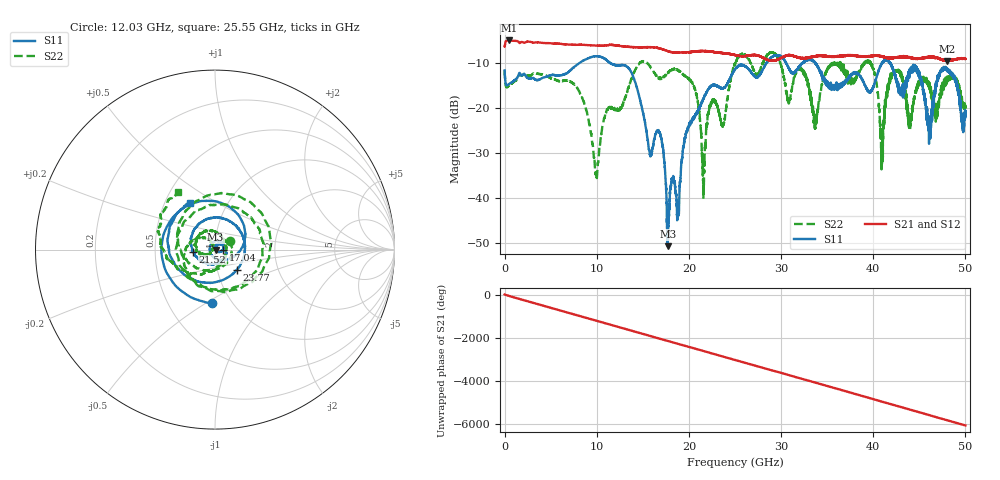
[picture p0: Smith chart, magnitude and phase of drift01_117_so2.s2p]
!Created with skrf (http://scikit-rf.org).
# Hz S RI R 50.0
!freq ReS11 ImS11 ReS21 ImS21 ReS12 ImS12 ReS22 ImS22
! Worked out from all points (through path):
!   10001 points, 300 kHz to 50 GHz, reference 50 ohm
!   highest |S21| = -5.05 dB at 520.3 MHz (marker M1); lowest = -9.6 dB at 48.03 GHz (marker M2)
!   group delay of S21, straight-line fit = 336 ps
!   lowest |S11| = -50.6 dB at 17.7 GHz (marker M3), VSWR 1.01, Z = 50.3 - j0.0728 ohm
!   |S11| at or under -10 dB: start of sweep to 8.162 GHz; 11.43 GHz to 28.42 GHz (16.99 GHz wide, 85.2 % of centre); 41.82 GHz to end of sweep (the widest 3 of 11)
!   |S22| runs from -40.1 to -7.6 dB; largest |S21 - S12| = 0.017
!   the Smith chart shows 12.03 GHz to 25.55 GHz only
!   S11 on the Smith chart (normalised r, x): 12.03 GHz: 0.81, -0.53; 17.04 GHz: 1.09, -0.01; 21.52 GHz: 0.78, -0.02; 23.77 GHz: 1.24, -0.29; 25.55 GHz: 0.67, +0.38
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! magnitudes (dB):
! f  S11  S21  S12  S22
! 300 kHz  -11.7  -6.4  -6.5  -11.7
! 520.3 MHz  -14.7  -5.1  -5.1  -15.0
! 8.335 GHz  -9.8  -6.0  -6.0  -17.5
! 9.935 GHz  -8.5  -6.2  -6.2  -34.2
! 12.03 GHz  -10.5  -6.1  -6.1  -20.4
! 16.67 GHz  -24.9  -6.7  -6.7  -13.3
! 17.04 GHz  -27.1  -6.9  -6.9  -13.5
! 17.7 GHz  -50.6  -7.4  -7.4  -12.2
! 20.5 GHz  -22.2  -7.6  -7.5  -14.9
! 21.52 GHz  -18.1  -7.4  -7.4  -34.8
! 22.45 GHz  -15.1  -7.6  -7.5  -18.8
! 23.77 GHz  -15.6  -7.9  -7.9  -23.5
! 25 GHz  -11.4  -8.3  -8.3  -10.2
! 25.55 GHz  -10.5  -8.5  -8.5  -8.3
! 33.34 GHz  -9.4  -8.7  -8.7  -19.4
! 39.49 GHz  -16.4  -8.5  -8.6  -9.8
! 40.95 GHz  -10.1  -8.6  -8.5  -29.7
! 41.67 GHz  -9.6  -8.8  -8.9  -14.8
! 44.76 GHz  -11.7  -9.1  -9.0  -15.6
! 46.12 GHz  -23.0  -8.7  -8.7  -14.4
! 48.03 GHz  -11.7  -9.6  -9.5  -13.6
! 50 GHz  -21.6  -9.1  -9.2  -20.0
